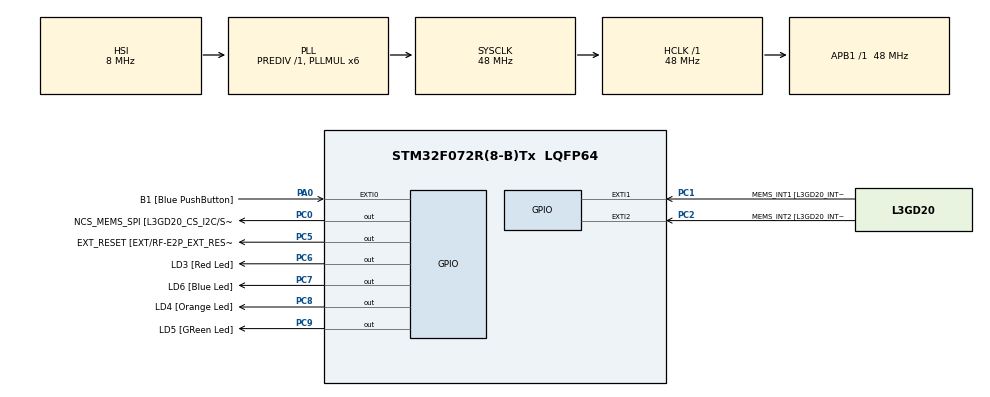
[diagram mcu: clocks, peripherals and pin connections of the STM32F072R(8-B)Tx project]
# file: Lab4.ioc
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Mcu.Family=STM32F0
Mcu.Name=STM32F072R(8-B)Tx
Mcu.Package=LQFP64
PA0.GPIO_Label=B1 [Blue PushButton]
PA0.GPIO_ModeDefaultEXTI=GPIO_MODE_EVT_RISING
PA0.Signal=GPXTI0
PA11.GPIO_Label=USBF4_DM
PA11.Signal=USB_DM
PA12.GPIO_Label=USBF4_DP
PA12.Signal=USB_DP
PA13.GPIO_Label=SWDIO
PA13.Signal=SYS_SWDIO
PA14.GPIO_Label=SWCLK
PA14.Signal=SYS_SWCLK
PA2.Signal=TSC_G1_IO3
PA3.Signal=TSC_G1_IO4
PA6.Signal=TSC_G2_IO3
PA7.Signal=TSC_G2_IO4
PB0.Signal=TSC_G3_IO2
PB1.Signal=TSC_G3_IO3
PB10.GPIO_Label=I2C2_SCL[EXT/RF-E2P_SCL]
PB10.Signal=I2C2_SCL
PB11.GPIO_Label=I2C2_SDA[EXT/RF-E2P_SDA]
PB11.Signal=I2C2_SDA
PB13.GPIO_Label=SPI2_SCK [L3GD20_SCL/SPC]
PB13.Signal=SPI2_SCK
PB14.GPIO_Label=SPI2_MISO [L3GD20_SDO]
PB14.Signal=SPI2_MISO
PB15.GPIO_Label=SPI2_MOSI [L3GD20_SDA/SDI]
PB15.Signal=SPI2_MOSI
PC0.GPIO_Label=NCS_MEMS_SPI [L3GD20_CS_I2C/SPI]
PC0.Signal=GPIO_Output
PC1.GPIO_Label=MEMS_INT1 [L3GD20_INT1]
PC1.GPIO_ModeDefaultEXTI=GPIO_MODE_EVT_RISING
PC1.Signal=GPXTI1
PC2.GPIO_Label=MEMS_INT2 [L3GD20_INT2]
PC2.GPIO_ModeDefaultEXTI=GPIO_MODE_EVT_RISING
PC2.Signal=GPXTI2
PC5.GPIO_Label=EXT_RESET [EXT/RF-E2P_EXT_RESET]
PC5.Signal=GPIO_Output
PC6.GPIO_Label=LD3 [Red Led]
PC6.Signal=GPIO_Output
PC7.GPIO_Label=LD6 [Blue Led]
PC7.Signal=GPIO_Output
PC8.GPIO_Label=LD4 [Orange Led]
PC8.Signal=GPIO_Output
PC9.GPIO_Label=LD5 [GReen Led]
PC9.Signal=GPIO_Output
ProjectManager.HeapSize=0x200
ProjectManager.StackSize=0x400
ProjectManager.TargetToolchain=MDK-ARM V5.32
RCC.AHBFreq_Value=48000000
RCC.APB1Freq_Value=48000000
RCC.APB1TimFreq_Value=48000000
RCC.HCLKFreq_Value=48000000
RCC.PLLMUL=RCC_PLL_MUL6
RCC.SYSCLKFreq_VALUE=48000000
RCC.SYSCLKSource=RCC_SYSCLKSOURCE_PLLCLK
board=STM32F072B-DISCO

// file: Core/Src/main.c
/* USER CODE BEGIN Header */
/**
 ******************************************************************************
 * @file           : main.c
 * @brief          : Main program body
 ******************************************************************************
 * @attention
 *
 * Copyright (c) 2023 STMicroelectronics.
 * All rights reserved.
 *
 * This software is licensed under terms that can be found in the LICENSE file
 * in the root directory of this software component.
 * If no LICENSE file comes with this software, it is provided AS-IS.
 *
 ******************************************************************************
 */
/* USER CODE END Header */
#include "main.h"
#include "string.h"

void SystemClock_Config(void);
static void MX_GPIO_Init(void);

/* USER CODE BEGIN 0 */

#define LED_RED GPIO_PIN_6
#define LED_BLUE GPIO_PIN_7
#define LED_ORANGE GPIO_PIN_8
#define LED_GREEN GPIO_PIN_9
#define TOGGLE_LED(led) (HAL_GPIO_TogglePin(GPIOC, led))
/**
 * @brief Initialize LEDs on the given pins.
 *
 * @param pins - pins to enable
 */
void LED_Init(uint32_t pins) {
    __HAL_RCC_GPIOC_CLK_ENABLE();

    GPIO_InitTypeDef gpio_led_init = {pins,
        GPIO_MODE_OUTPUT_PP,
        GPIO_SPEED_FREQ_LOW,
        GPIO_NOPULL
    };
    HAL_GPIO_Init(GPIOC, &gpio_led_init);
}

/**
 * @brief Enable proper GPIO pins for USART, and set up their alternate
 *        functions appropriately.
 */
void GPIO_AF_Init() {
    __HAL_RCC_GPIOC_CLK_ENABLE();

    GPIO_InitTypeDef gpio_af_init = {GPIO_PIN_4 | GPIO_PIN_5,
        GPIO_MODE_AF_PP,
        GPIO_SPEED_FREQ_HIGH,
        GPIO_NOPULL
    };
    HAL_GPIO_Init(GPIOC, &gpio_af_init);

    //Set AF1 on PC4 and PC5
    GPIOC->AFR[0] &= ~(0xFF << 16);
    GPIOC->AFR[0] |= (0x11 << 16);
}

/**
 * @brief Enable the USART3 peripheral.
 */
void USART_Init() {
    //__HAL_RCC_USART3_CLK_ENABLE();
    RCC->APB1ENR |= RCC_APB1ENR_USART3EN;

    //Set baud rate
    USART3->CR1 &= ~(1<<15);
    USART3->BRR = HAL_RCC_GetHCLKFreq() / 115200;

    //Enable transmitter
    USART3->CR1 |= (1<<3);

    //Enable receiver
    USART3->CR1 |= (1<<2);

    //Enable the receive register not empty interrupt
    USART3->CR1 |= USART_CR1_RXNEIE;

    //Enable USART3
    USART3->CR1 |= 1;
}

/**
 * @brief Sends a single character on the USART.
 *
 * @param c: the character to be sent
 */
void USART_SendChar(uint8_t c) {
    while(!(USART3->ISR & USART_ISR_TXE))
        ;

    USART3->TDR = c;
}

/**
 * @brief Sends a string on the USART.
 *
 * @param p_string: pointer to string to send
 */
void USART_SendString(uint8_t* p_string) {
    while(*p_string != 0) {
        USART_SendChar(*p_string);
        p_string++;
    }
    USART_SendChar(0);
}

volatile uint8_t command[2];
volatile uint8_t incomingCommand = 0;

void ClearCommand(){
    uint8_t prompt[] = "CMD> ";
    memset(command, 0, sizeof(command));
    incomingCommand = 0;
    USART_SendString(prompt);
}

void USART3_4_IRQHandler(){
    uint8_t err[] = "Command too long!\n";
    incomingCommand = 1;
    while(!(USART3->ISR & (1<<5)))
        ;
    if(command[0])
        if(command[1]){
            USART_SendString(err);
            ClearCommand();
        }
        else
            command[1] = USART3->RDR;
    else
        command[0] = USART3->RDR;

}

void ProcessCommand(uint8_t led, uint8_t mode){
    uint32_t led_pin;

    uint8_t err[] = "ERROR: Invalid command!\n";

    uint8_t off[] = "Turning off the ";
    uint8_t on[] = "Turning on the ";
    uint8_t toggle[] = "Toggling the ";

    uint8_t red[] = "red LED.\n";
    uint8_t green[] = "green LED.\n";
    uint8_t blue[] = "blue LED.\n";
    uint8_t orange[] = "orange LED.\n";

    if(led != 'r' && led != 'o' && led != 'b' && led != 'g'){
        USART_SendString(err);
        ClearCommand();
        return;
    }

    uint8_t* part1;
    uint8_t* part2;

    switch(led){
        case 'r':
            part2 = red;
            led_pin = LED_RED;
            break;
        case 'g':
            part2 = green;
            led_pin = LED_GREEN;
            break;
        case 'b':
            part2 = blue;
            led_pin = LED_BLUE;
            break;
        case 'o':
            part2 = orange;
            led_pin = LED_ORANGE;
            break;
        default:
            USART_SendString(err);
            ClearCommand();
    }
    switch(mode){
        case '0':
            part1 = off;
            HAL_GPIO_WritePin(GPIOC, led_pin, GPIO_PIN_RESET);
            break;
        case '1':
            part1 = on;
            HAL_GPIO_WritePin(GPIOC, led_pin, GPIO_PIN_SET);
            break;
        case '2':
            part1 = toggle;
            TOGGLE_LED(led_pin);
            break;
        default:
            USART_SendString(err);
            ClearCommand();
            return;
    }

    USART_SendString(part1);
    USART_SendString(part2);
    ClearCommand();
}

/* USER CODE END 0 */

int main(void)
{

    /* MCU Configuration--------------------------------------------------------*/

    /* Reset of all peripherals, Initializes the Flash interface and the Systick. */
    HAL_Init();

    /* Configure the system clock */
    SystemClock_Config();

    /* Initialize all configured peripherals */
    MX_GPIO_Init();
    /* USER CODE BEGIN 2 */

    GPIO_AF_Init();
    USART_Init();
    LED_Init(LED_RED | LED_ORANGE | LED_GREEN | LED_BLUE);

    NVIC_EnableIRQ(USART3_4_IRQn);
    NVIC_SetPriority(USART3_4_IRQn,1);

    uint8_t prompt[] = "CMD> ";

    /* USER CODE END 2 */

    /* Infinite loop */
    /* USER CODE BEGIN WHILE */
    USART_SendString(prompt);
    while (1)
    {
        /* USER CODE END WHILE */

        //Send an 'a'
        /*
           uint8_t hi[] = "hello world";
           USART_SendString(hi);
           HAL_Delay(1000);
           */

        /* USER CODE BEGIN 3 */
        if(incomingCommand){
            if(command[1]){
                ProcessCommand(command[0], command[1]);
            }
        }
    }
}

void SystemClock_Config(void)
{
    RCC_OscInitTypeDef RCC_OscInitStruct = {0};
    RCC_ClkInitTypeDef RCC_ClkInitStruct = {0};

    /** Initializes the RCC Oscillators according to the specified parameters
     * in the RCC_OscInitTypeDef structure.
     */
    RCC_OscInitStruct.OscillatorType = RCC_OSCILLATORTYPE_HSI;
    RCC_OscInitStruct.HSIState = RCC_HSI_ON;
    RCC_OscInitStruct.HSICalibrationValue = RCC_HSICALIBRATION_DEFAULT;
    RCC_OscInitStruct.PLL.PLLState = RCC_PLL_ON;
    RCC_OscInitStruct.PLL.PLLSource = RCC_PLLSOURCE_HSI;
    RCC_OscInitStruct.PLL.PLLMUL = RCC_PLL_MUL6;
    RCC_OscInitStruct.PLL.PREDIV = RCC_PREDIV_DIV1;
    if (HAL_RCC_OscConfig(&RCC_OscInitStruct) != HAL_OK)
    {
        Error_Handler();
    }

    /** Initializes the CPU, AHB and APB buses clocks
    */
    RCC_ClkInitStruct.ClockType = RCC_CLOCKTYPE_HCLK|RCC_CLOCKTYPE_SYSCLK
        |RCC_CLOCKTYPE_PCLK1;
    RCC_ClkInitStruct.SYSCLKSource = RCC_SYSCLKSOURCE_PLLCLK;
    RCC_ClkInitStruct.AHBCLKDivider = RCC_SYSCLK_DIV1;
    RCC_ClkInitStruct.APB1CLKDivider = RCC_HCLK_DIV1;

    if (HAL_RCC_ClockConfig(&RCC_ClkInitStruct, FLASH_LATENCY_1) != HAL_OK)
    {
        Error_Handler();
    }
}

static void MX_GPIO_Init(void)
{
    GPIO_InitTypeDef GPIO_InitStruct = {0};

    /* GPIO Ports Clock Enable */
    __HAL_RCC_GPIOC_CLK_ENABLE();
    __HAL_RCC_GPIOA_CLK_ENABLE();
    __HAL_RCC_GPIOB_CLK_ENABLE();

    /*Configure GPIO pin Output Level */
    HAL_GPIO_WritePin(GPIOC, NCS_MEMS_SPI_Pin|EXT_RESET_Pin|LD3_Pin|LD6_Pin
            |LD4_Pin|LD5_Pin, GPIO_PIN_RESET);

    /*Configure GPIO pins : NCS_MEMS_SPI_Pin EXT_RESET_Pin LD3_Pin LD6_Pin
      LD4_Pin LD5_Pin */
    GPIO_InitStruct.Pin = NCS_MEMS_SPI_Pin|EXT_RESET_Pin|LD3_Pin|LD6_Pin
        |LD4_Pin|LD5_Pin;
    GPIO_InitStruct.Mode = GPIO_MODE_OUTPUT_PP;
    GPIO_InitStruct.Pull = GPIO_NOPULL;
    GPIO_InitStruct.Speed = GPIO_SPEED_FREQ_LOW;
    HAL_GPIO_Init(GPIOC, &GPIO_InitStruct);

    /*Configure GPIO pins : MEMS_INT1_Pin MEMS_INT2_Pin */
    GPIO_InitStruct.Pin = MEMS_INT1_Pin|MEMS_INT2_Pin;
    GPIO_InitStruct.Mode = GPIO_MODE_EVT_RISING;
    GPIO_InitStruct.Pull = GPIO_NOPULL;
    HAL_GPIO_Init(GPIOC, &GPIO_InitStruct);

    /*Configure GPIO pin : B1_Pin */
    GPIO_InitStruct.Pin = B1_Pin;
    GPIO_InitStruct.Mode = GPIO_MODE_EVT_RISING;
    GPIO_InitStruct.Pull = GPIO_NOPULL;
    HAL_GPIO_Init(B1_GPIO_Port, &GPIO_InitStruct);

    /*Configure GPIO pins : PA2 PA3 PA6 PA7 */
    GPIO_InitStruct.Pin = GPIO_PIN_2|GPIO_PIN_3|GPIO_PIN_6|GPIO_PIN_7;
    GPIO_InitStruct.Mode = GPIO_MODE_AF_PP;
    GPIO_InitStruct.Pull = GPIO_NOPULL;
    GPIO_InitStruct.Speed = GPIO_SPEED_FREQ_LOW;
    GPIO_InitStruct.Alternate = GPIO_AF3_TSC;
    HAL_GPIO_Init(GPIOA, &GPIO_InitStruct);

    /*Configure GPIO pins : PB0 PB1 */
    GPIO_InitStruct.Pin = GPIO_PIN_0|GPIO_PIN_1;
    GPIO_InitStruct.Mode = GPIO_MODE_AF_PP;
    GPIO_InitStruct.Pull = GPIO_NOPULL;
    GPIO_InitStruct.Speed = GPIO_SPEED_FREQ_LOW;
    GPIO_InitStruct.Alternate = GPIO_AF3_TSC;
    HAL_GPIO_Init(GPIOB, &GPIO_InitStruct);

    /*Configure GPIO pins : I2C2_SCL_Pin I2C2_SDA_Pin */
    GPIO_InitStruct.Pin = I2C2_SCL_Pin|I2C2_SDA_Pin;
    GPIO_InitStruct.Mode = GPIO_MODE_AF_OD;
    GPIO_InitStruct.Pull = GPIO_NOPULL;
    GPIO_InitStruct.Speed = GPIO_SPEED_FREQ_HIGH;
    GPIO_InitStruct.Alternate = GPIO_AF1_I2C2;
    HAL_GPIO_Init(GPIOB, &GPIO_InitStruct);

    /*Configure GPIO pins : SPI2_SCK_Pin SPI2_MISO_Pin SPI2_MOSI_Pin */
    GPIO_InitStruct.Pin = SPI2_SCK_Pin|SPI2_MISO_Pin|SPI2_MOSI_Pin;
    GPIO_InitStruct.Mode = GPIO_MODE_AF_PP;
    GPIO_InitStruct.Pull = GPIO_NOPULL;
    GPIO_InitStruct.Speed = GPIO_SPEED_FREQ_HIGH;
    GPIO_InitStruct.Alternate = GPIO_AF0_SPI2;
    HAL_GPIO_Init(GPIOB, &GPIO_InitStruct);

}

void Error_Handler(void)
{
    __disable_irq();
    while (1)
    {
    }
}
